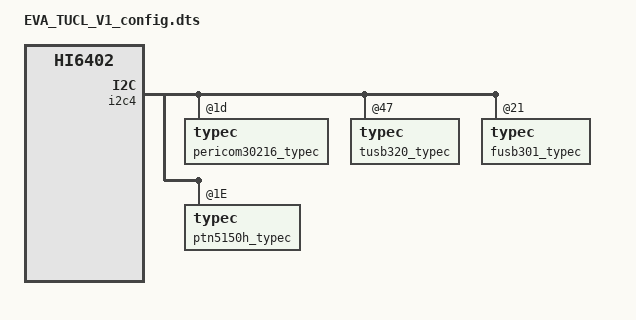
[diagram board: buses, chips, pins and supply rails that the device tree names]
/**
 * Huawei Ltd.
 * PhosphorV660
 */

/dts-v1/;

/include/ "fastboot.dtsi"
/include/ "EVA_TUCL_V0_config.dtsi"
/include/ "EVA_TUCL_V1_pin.dtsi"
/include/ "EVA_TUCL_V1_modem_pin.dtsi"
/include/ "EVA_TUCL_V1_hi6402_pin.dtsi"

/{
	hisi,modem_id = <0x3C010000>;
	hisi,boardid = <3 5 5 1>;
	hisi,boardname = "EVA_TUCL_V1";
	amba{
		i2c4: i2c@FDF0D000{
			pericom30216_typec: typec@1d {
				pericom30216_gpio_enb = <1>;
				status = "ok";
			};
			tusb320_typec: typec@47 {
				tusb320_gpio_enb = <1>;
				tusb320_mdelay = <100>;
				status = "ok";
			};
			fusb301_typec: typec@21 {
				fusb301_gpio_enb = <1>;
				status = "ok";
			};
			ptn5150h_typec: typec@1E {
				ptn5150h_gpio_enb = <1>;
				status = "ok";
			};
		};
	};
	huawei,lcd_panel{
		lcd_id_match_tab = <0 1 10 4 9>;
		support_lcd_type = "JDI_R63452_5P5_LCD","SHARP_NT35695_5P5_LCD","SHARP_NT35695_5P5_LCD","LG_R69006_5P5_LCD","LG_R69006_5P5_LCD";
	};
};
